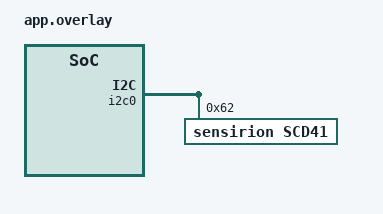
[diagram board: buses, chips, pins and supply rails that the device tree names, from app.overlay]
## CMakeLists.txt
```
# SPDX-License-Identifier: Apache-2.0

cmake_minimum_required(VERSION 3.20.0)
find_package(Zephyr REQUIRED HINTS $ENV{ZEPHYR_BASE})
project(esp32_c3_scd41)

target_sources(app PRIVATE 
    src/main.c
    src/app_config.c
    src/sensors.c
    src/display_mgr.c
    src/shell_cmds.c
    src/ble_mgr.c
)
```

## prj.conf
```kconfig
CONFIG_I2C=y
CONFIG_SENSOR=y
CONFIG_SCD4X=y

CONFIG_DISPLAY=y
CONFIG_SSD1306=y
CONFIG_CHARACTER_FRAMEBUFFER=y

CONFIG_SHELL=y
CONFIG_SHELL_STACK_SIZE=4096

# Settings and Persistent Storage
CONFIG_SETTINGS=y
CONFIG_SETTINGS_NVS=y
CONFIG_NVS=y
CONFIG_FLASH=y
CONFIG_FLASH_MAP=y
CONFIG_FLASH_PAGE_LAYOUT=y
CONFIG_SENSOR_SHELL=y
CONFIG_LOG=y

CONFIG_CBPRINTF_FP_SUPPORT=y
CONFIG_EVENTS=y

# Bluetooth support (Stable config from weactc6)
CONFIG_BT=y
CONFIG_BT_PERIPHERAL=y
CONFIG_BT_DEVICE_NAME="SCD41_Monitor"
CONFIG_BT_DEVICE_APPEARANCE=833
CONFIG_BT_SMP=y
CONFIG_BT_L2CAP_TX_MTU=247
CONFIG_BT_BUF_ACL_RX_SIZE=251
CONFIG_BT_BUF_ACL_TX_SIZE=251
CONFIG_BT_L2CAP_TX_BUF_COUNT=10
CONFIG_BT_BUF_ACL_TX_COUNT=10
CONFIG_BT_ATT_PREPARE_COUNT=5
CONFIG_BT_RX_STACK_SIZE=2200
CONFIG_BT_GATT_CLIENT=y
CONFIG_BT_USER_DATA_LEN_UPDATE=y
CONFIG_BT_CTLR_DATA_LENGTH_MAX=251

# GPIO for possible reset if needed
CONFIG_GPIO=y
```

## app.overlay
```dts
/* SCD41 Sensor Overlay */

&i2c0 {
	status = "okay";
	scd41: scd41@62 {
		compatible = "sensirion,scd41";
		reg = <0x62>;
		mode = <0>;
	};
};
```

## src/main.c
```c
#include <zephyr/kernel.h>
#include <zephyr/logging/log.h>
#include <stdio.h>

#include "app_config.h"
#include "sensors.h"
#include "display_mgr.h"
#include "shell_cmds.h"
#include "ble_mgr.h"

LOG_MODULE_REGISTER(app, LOG_LEVEL_INF);

int main(void)
{
	int err;

	LOG_INF("Initializing SCD41 Air Monitor with BLE");

	err = app_config_init();
	if (err) LOG_ERR("Settings initialization failed: %d", err);

	err = sensors_init();
	if (err) {
		LOG_ERR("Sensor initialization failed: %d", err);
		return 0;
	}

	err = display_mgr_init();
	if (err) {
		LOG_ERR("Display initialization failed: %d", err);
		return 0;
	}

	display_mgr_show_splash();

	/* Initialize Bluetooth via dedicated manager */
	err = ble_mgr_init();
	if (err) {
		LOG_ERR("BLE initialization failed: %d", err);
	}

	shell_cmds_init();

	LOG_INF("System ready. Bluetooth advertising...");

	int64_t last_timer_tick = k_uptime_get();
	int64_t last_sensor_fetch = 0;

	while (1) {
		uint32_t conf_interval_ms;
		bool is_active;
		
		k_mutex_lock(&config_mutex, K_FOREVER);
		is_active = config.active;
		conf_interval_ms = config.interval_ms;
		
		/* Handle Timer Countdown */
		if (config.timer_min > 0) {
			int64_t now = k_uptime_get();
			if (now - last_timer_tick >= 60000) { /* 1 minute passed */
				config.timer_min--;
				last_timer_tick = now;
				LOG_INF("Timer: %d minutes remaining", config.timer_min);
				
				if (config.timer_min == 0) {
					config.active = false;
					is_active = false;
					LOG_INF("Timer expired! Stopping measurements.");
				}
			}
		} else {
			last_timer_tick = k_uptime_get();
		}
		k_mutex_unlock(&config_mutex);

		int64_t now = k_uptime_get();
		if (is_active && (now - last_sensor_fetch >= conf_interval_ms || last_sensor_fetch == 0)) {
			err = sensors_fetch_all();
			if (err == 0) {
				ble_mgr_send_telemetry();
			} else {
				LOG_ERR("Sensor fetch failed: %d", err);
			}
			last_sensor_fetch = now;
		}

		display_mgr_update();
		k_msleep(200); /* 5 FPS UI update for animations */
	}

	return 0;
}
```

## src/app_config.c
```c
#include "app_config.h"
#include <zephyr/settings/settings.h>
#include <string.h>
#include <stdio.h>

struct app_config config = {
	.interval_ms = 5000,
	.measure_co2 = true,
	.measure_temp = true,
	.measure_hum = true,
	.measure_dp = true,
	.measure_vpd = true,
	.active = true,
	.log_to_console = true,
	.lang_ru = true  /* Default to RU */
};

struct measurement_data last_data = {0};
K_MUTEX_DEFINE(config_mutex);

static int app_settings_set(const char *name, size_t len, settings_read_cb read_cb, void *cb_arg)
{
	const char *next;
	int ret;

	if (settings_name_steq(name, "interval", &next) && !next) {
		ret = read_cb(cb_arg, &config.interval_ms, sizeof(config.interval_ms));
		return (ret < 0) ? ret : 0;
	}
	if (settings_name_steq(name, "m_co2", &next) && !next) {
		ret = read_cb(cb_arg, &config.measure_co2, sizeof(config.measure_co2));
		return (ret < 0) ? ret : 0;
	}
	if (settings_name_steq(name, "m_temp", &next) && !next) {
		ret = read_cb(cb_arg, &config.measure_temp, sizeof(config.measure_temp));
		return (ret < 0) ? ret : 0;
	}
	if (settings_name_steq(name, "m_hum", &next) && !next) {
		ret = read_cb(cb_arg, &config.measure_hum, sizeof(config.measure_hum));
		return (ret < 0) ? ret : 0;
	}
	if (settings_name_steq(name, "m_dp", &next) && !next) {
		ret = read_cb(cb_arg, &config.measure_dp, sizeof(config.measure_dp));
		return (ret < 0) ? ret : 0;
	}
	if (settings_name_steq(name, "m_vpd", &next) && !next) {
		ret = read_cb(cb_arg, &config.measure_vpd, sizeof(config.measure_vpd));
		return (ret < 0) ? ret : 0;
	}
	if (settings_name_steq(name, "active", &next) && !next) {
		ret = read_cb(cb_arg, &config.active, sizeof(config.active));
		return (ret < 0) ? ret : 0;
	}
	if (settings_name_steq(name, "log", &next) && !next) {
		ret = read_cb(cb_arg, &config.log_to_console, sizeof(config.log_to_console));
		return (ret < 0) ? ret : 0;
	}
	if (settings_name_steq(name, "lang_ru", &next) && !next) {
		ret = read_cb(cb_arg, &config.lang_ru, sizeof(config.lang_ru));
		return (ret < 0) ? ret : 0;
	}

	return 0;
}

struct settings_handler app_settings_conf = {
	.name = "app",
	.h_set = app_settings_set
};

int app_config_init(void)
{
	int err = settings_subsys_init();
	if (err) return err;

	err = settings_register(&app_settings_conf);
	if (err) return err;

	return settings_load();
}

int app_config_save(void)
{
	settings_save_one("app/interval", &config.interval_ms, sizeof(config.interval_ms));
	settings_save_one("app/m_co2", &config.measure_co2, sizeof(config.measure_co2));
	settings_save_one("app/m_temp", &config.measure_temp, sizeof(config.measure_temp));
	settings_save_one("app/m_hum", &config.measure_hum, sizeof(config.measure_hum));
	settings_save_one("app/m_dp", &config.measure_dp, sizeof(config.measure_dp));
	settings_save_one("app/m_vpd", &config.measure_vpd, sizeof(config.measure_vpd));
	settings_save_one("app/active", &config.active, sizeof(config.active));
	settings_save_one("app/log", &config.log_to_console, sizeof(config.log_to_console));
	settings_save_one("app/lang_ru", &config.lang_ru, sizeof(config.lang_ru));
	return 0;
}
```

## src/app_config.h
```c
#ifndef APP_CONFIG_H
#define APP_CONFIG_H

#include <zephyr/kernel.h>
#include <stdbool.h>

#define APP_VERSION "v1.0.6"

/* Comfort Ranges */
#define RANGE_CO2_MAX  1500
#define RANGE_CO2_MIN  350
#define RANGE_TEMP_MAX 35.0
#define RANGE_TEMP_MIN 15.0
#define RANGE_HUM_MAX  75.0
#define RANGE_HUM_MIN  25.0
#define RANGE_VPD_MAX  2.0
#define RANGE_VPD_MIN  0.4

/* Global configuration state */
struct app_config {
	uint32_t interval_ms;
	bool measure_co2;
	bool measure_temp;
	bool measure_hum;
	bool measure_dp;
	bool measure_vpd;
	bool active;
	bool log_to_console;
	bool lang_ru;      /* Language toggle: false = EN, true = RU */
	int32_t timer_min; /* Minutes until auto-stop. 0 = disabled */
};

/* Simplified measurement data for logic and display */
struct measurement_data {
	int co2;
	double temp;
	double hum;
	double dp;
	double vpd;
};

extern struct app_config config;
extern struct measurement_data last_data;
extern struct k_mutex config_mutex;

enum app_status {
	STATUS_OK = 0,
	STATUS_WARN = 1,
	STATUS_CRIT = 2
};

int app_config_init(void);
int app_config_save(void);

/* Helper to get numeric status */
enum app_status sensors_get_status_code(void);

/* Helper to build JSON telemetry string */
int sensors_build_telemetry_json(char *buf, size_t len);

#endif
```

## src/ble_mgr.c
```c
#include "ble_mgr.h"
#include "app_config.h"
#include "sensors.h"
#include <zephyr/bluetooth/bluetooth.h>
#include <zephyr/bluetooth/hci.h>
#include <zephyr/bluetooth/conn.h>
#include <zephyr/bluetooth/uuid.h>
#include <zephyr/bluetooth/gatt.h>
#include <zephyr/shell/shell.h>
#include <zephyr/logging/log.h>
#include <stdio.h>

LOG_MODULE_REGISTER(ble_mgr, LOG_LEVEL_INF);

/* Custom Service UUID: SCD41 Air Monitor (12345678-abcd-4444-8888-534344343100) */
#define BT_UUID_SCD_SERVICE_VAL BT_UUID_128_ENCODE(0x12345678, 0xabcd, 0x4444, 0x8888, 0x534344343100)
/* Characteristic: Telemetry (Notify) */
#define BT_UUID_SCD_DATA_VAL    BT_UUID_128_ENCODE(0x12345678, 0xabcd, 0x4444, 0x8888, 0x534344343101)
/* Characteristic: Command (Write) */
#define BT_UUID_SCD_CMD_VAL     BT_UUID_128_ENCODE(0x12345678, 0xabcd, 0x4444, 0x8888, 0x534344343102)

static struct bt_uuid_128 scd_svc_uuid = BT_UUID_INIT_128(BT_UUID_SCD_SERVICE_VAL);
static struct bt_uuid_128 scd_data_uuid = BT_UUID_INIT_128(BT_UUID_SCD_DATA_VAL);
static struct bt_uuid_128 scd_cmd_uuid = BT_UUID_INIT_128(BT_UUID_SCD_CMD_VAL);

static uint8_t telemetry_buf[128];
static struct bt_conn *current_conn;
static enum ble_status current_status = BLE_STATUS_DISCONNECTED;

static struct k_work_delayable adv_work;

/* ---- Characteristic Handlers ---- */
static ssize_t read_telemetry(struct bt_conn *conn, const struct bt_gatt_attr *attr,
			      void *buf, uint16_t len, uint16_t offset)
{
	return bt_gatt_attr_read(conn, attr, buf, len, offset, telemetry_buf, strlen(telemetry_buf));
}

static ssize_t write_command(struct bt_conn *conn, const struct bt_gatt_attr *attr,
			     const void *buf, uint16_t len, uint16_t offset, uint8_t flags)
{
	char cmd_buf[64];
	uint16_t copy_len = MIN(len, sizeof(cmd_buf) - 1);
	
	memcpy(cmd_buf, buf, copy_len);
	cmd_buf[copy_len] = '\0';

	LOG_INF("BLE Command received: %s", cmd_buf);

	/* Execute command via Shell */
	shell_execute_cmd(NULL, cmd_buf);

	/* Trigger immediate telemetry update to sync app state */
	ble_mgr_send_telemetry();

	return len;
}

static void ccc_cfg_changed(const struct bt_gatt_attr *attr, uint16_t value)
{
	bool notif_enabled = (value == BT_GATT_CCC_NOTIFY);
	LOG_INF("Telemetry notifications %s", notif_enabled ? "enabled" : "disabled");
}

/* ---- GATT Definition ---- */
BT_GATT_SERVICE_DEFINE(scd_svc,
	BT_GATT_PRIMARY_SERVICE(&scd_svc_uuid),
	BT_GATT_CHARACTERISTIC(&scd_data_uuid.uuid,
			       BT_GATT_CHRC_READ | BT_GATT_CHRC_NOTIFY,
			       BT_GATT_PERM_READ,
			       read_telemetry, NULL, telemetry_buf),
	BT_GATT_CCC(ccc_cfg_changed, BT_GATT_PERM_READ | BT_GATT_PERM_WRITE),
	BT_GATT_CHARACTERISTIC(&scd_cmd_uuid.uuid,
			       BT_GATT_CHRC_WRITE | BT_GATT_CHRC_WRITE_WITHOUT_RESP,
			       BT_GATT_PERM_WRITE,
			       NULL, write_command, NULL),
);

static uint8_t ad_service_data[4]; /* 2 bytes UUID (0x18, 0x1A) + 2 bytes CO2 */

static struct bt_data ad[] = {
	BT_DATA_BYTES(BT_DATA_FLAGS, (BT_LE_AD_GENERAL | BT_LE_AD_NO_BREDR)),
	BT_DATA_BYTES(BT_DATA_UUID128_ALL, BT_UUID_SCD_SERVICE_VAL),
	BT_DATA(BT_DATA_SVC_DATA16, ad_service_data, sizeof(ad_service_data)),
};

static const struct bt_data sd[] = {
	BT_DATA(BT_DATA_NAME_COMPLETE, CONFIG_BT_DEVICE_NAME, sizeof(CONFIG_BT_DEVICE_NAME) - 1),
};

static void update_ad_data(void)
{
	k_mutex_lock(&config_mutex, K_FOREVER);
	uint16_t co2 = (uint16_t)last_data.co2;
	k_mutex_unlock(&config_mutex);

	/* UUID 0x181A (Environmental Sensing) in Little Endian */
	ad_service_data[0] = 0x1A;
	ad_service_data[1] = 0x18;
	/* CO2 value in Big Endian for easier parsing on Android */
	ad_service_data[2] = (co2 >> 8) & 0xFF;
	ad_service_data[3] = co2 & 0xFF;

	bt_le_adv_update_data(ad, ARRAY_SIZE(ad), sd, ARRAY_SIZE(sd));
}

/* ---- BLE Callbacks ---- */
static void connected(struct bt_conn *conn, uint8_t err)
{
	if (err) {
		LOG_ERR("Connection failed (err %u)", err);
		current_status = BLE_STATUS_DISCONNECTED;
		return;
	}
	LOG_INF("Phone connected");
	current_conn = bt_conn_ref(conn);
	current_status = BLE_STATUS_CONNECTED;
}

static void disconnected(struct bt_conn *conn, uint8_t reason)
{
	LOG_INF("Phone disconnected (reason %02x)", reason);
	if (current_conn) {
		bt_conn_unref(current_conn);
		current_conn = NULL;
	}
	current_status = BLE_STATUS_DISCONNECTED;

	/* Restart advertising after stack cleanup via delayable work */
	k_work_reschedule(&adv_work, K_MSEC(250));
}

BT_CONN_CB_DEFINE(conn_callbacks) = {
	.connected = connected,
	.disconnected = disconnected,
};

static void adv_work_handler(struct k_work *work)
{
	int err = bt_le_adv_start(BT_LE_ADV_CONN_FAST_1, ad, ARRAY_SIZE(ad), sd, ARRAY_SIZE(sd));
	if (err == -EALREADY) {
		LOG_INF("Advertising is already running");
		current_status = BLE_STATUS_CONNECTING;
	} else if (err) {
		LOG_ERR("Advertising failed to restart (err %d)", err);
		/* Try again */
		k_work_reschedule(&adv_work, K_MSEC(1000));
	} else {
		LOG_INF("Advertising restarted");
		current_status = BLE_STATUS_CONNECTING;
	}
}

static void bt_ready(int err)
{
	if (err) {
		LOG_ERR("Bluetooth init failed (err %d)", err);
		return;
	}
	LOG_INF("Bluetooth initialized and ready");

	k_work_init_delayable(&adv_work, adv_work_handler);

	err = bt_le_adv_start(BT_LE_ADV_CONN_FAST_1, ad, ARRAY_SIZE(ad), sd, ARRAY_SIZE(sd));
	if (err) {
		LOG_ERR("Advertising failed to start (err %d)", err);
		return;
	}
	LOG_INF("Advertising started as 'SCD41_Monitor'");
	current_status = BLE_STATUS_CONNECTING;
}

int ble_mgr_init(void)
{
	int err = bt_enable(bt_ready);
	if (err) {
		LOG_ERR("Bluetooth init failed (err %d)", err);
	}
	return err;
}

void ble_mgr_send_telemetry(void)
{
	sensors_build_telemetry_json(telemetry_buf, sizeof(telemetry_buf));

	/* Notify index 2 (The value attribute) */
	if (current_conn) {
		bt_gatt_notify(NULL, &scd_svc.attrs[2], telemetry_buf, strlen(telemetry_buf));
	}
	
	/* Update advertising data so CO2 is visible without connection */
	update_ad_data();
}

enum ble_status ble_mgr_get_status(void)
{
	return current_status;
}
```

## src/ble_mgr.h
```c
#ifndef BLE_MGR_H
#define BLE_MGR_H

#include <zephyr/kernel.h>

enum ble_status {
	BLE_STATUS_DISCONNECTED,
	BLE_STATUS_CONNECTING,
	BLE_STATUS_CONNECTED,
	BLE_STATUS_DISCONNECTING
};

/**
 * @brief Initialize BLE service and advertising
 * @return 0 on success
 */
int ble_mgr_init(void);

/**
 * @brief Update and notify telemetry data over BLE
 */
void ble_mgr_send_telemetry(void);

/**
 * @brief Get current BLE connection status
 */
enum ble_status ble_mgr_get_status(void);

#endif
```

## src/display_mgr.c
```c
#include "display_mgr.h"
#include "app_config.h"
#include "sensors.h"
#include "ble_mgr.h"
#include <zephyr/logging/log.h>
#include <zephyr/display/cfb.h>
#include <zephyr/drivers/display.h>
#include <stdio.h>

LOG_MODULE_DECLARE(app, LOG_LEVEL_INF);

const struct device *display = DEVICE_DT_GET(DT_CHOSEN(zephyr_display));

int display_mgr_init(void)
{
	if (!device_is_ready(display)) {
		return -ENODEV;
	}
	if (display_set_pixel_format(display, PIXEL_FORMAT_MONO10) < 0) {
		return -EIO;
	}
	if (cfb_framebuffer_init(display)) {
		return -EIO;
	}

	cfb_framebuffer_clear(display, true);
	cfb_framebuffer_set_font(display, 0);

	display_blanking_off(display);

	return 0;
}

void display_mgr_show_splash(void)
{
	uint16_t width, height;

	width = cfb_get_display_parameter(display, CFB_DISPLAY_WIDTH);
	height = cfb_get_display_parameter(display, CFB_DISPLAY_HEIGHT);

	LOG_INF("Showing splash screen (version %s)", APP_VERSION);

	/* Loop to create a 5 second splash delay (33 iterations * 150ms = 4950ms) */
	for (int i = 0; i < 33; i++) {
		cfb_framebuffer_clear(display, false);
		cfb_print(display, "SCD41 Monitor", 0, 0);
		cfb_print(display, (char *)APP_VERSION, 0, 20);

		char loading_str[32];
		snprintf(loading_str, sizeof(loading_str), "Loading%s",
		         (i % 4 == 0) ? "" : (i % 4 == 1) ? "." : (i % 4 == 2) ? ".." : "...");

		/* Gentle scrolling/bouncing effect for Loading... */
		int cycle = i % 14;
		int x_offset = (cycle < 7) ? cycle * 4 : (14 - cycle) * 4;

		cfb_print(display, loading_str, x_offset, 40);
		cfb_framebuffer_finalize(display);
		k_sleep(K_MSEC(150));
	}
	LOG_INF("Splash screen finished");
}

void display_mgr_update(void)
{
	static uint8_t page_idx = 0;
	static int64_t last_page_time = 0;
	static uint32_t anim_tick = 0;

	char val_buf[32];
	const char *label = "";
	bool shown = false;
	
	k_mutex_lock(&config_mutex, K_FOREVER);
	bool ru = config.lang_ru;
	k_mutex_unlock(&config_mutex);

	enum ble_status ble_st = ble_mgr_get_status();

	int64_t now = k_uptime_get();
	
	if (now - last_page_time >= 3000 || last_page_time == 0) {
		page_idx = (page_idx + 1) % 7;
		last_page_time = now;
	}

	anim_tick++;

	/* Scan for the next valid page starting from page_idx */
	for (int i = 0; i < 7; i++) {
		uint8_t current = (page_idx + i) % 7;

		cfb_framebuffer_clear(display, false);
		shown = false;

		if (current < 5) {
			k_mutex_lock(&config_mutex, K_FOREVER);
			switch (current) {
			case 0:
				if (config.measure_co2) {
					label = "CO2|ppm";
					snprintf(val_buf, sizeof(val_buf), "%d", last_data.co2);
					shown = true;
				}
				break;
			case 1:
				if (config.measure_temp) {
					label = "t C";
					snprintf(val_buf, sizeof(val_buf), "%.2f", last_data.temp);
					shown = true;
				}
				break;
			case 2:
				if (config.measure_hum) {
					label = ru ? "Вл %" : "Hum %";
					snprintf(val_buf, sizeof(val_buf), "%.1f", last_data.hum);
					shown = true;
				}
				break;
			case 3:
				if (config.measure_dp) {
					label = ru ? "Т.Рос|C" : "DewP|C";
					snprintf(val_buf, sizeof(val_buf), "%.1f", last_data.dp);
					shown = true;
				}
				break;
			case 4:
				if (config.measure_vpd) {
					label = "VPD|kPa";
					snprintf(val_buf, sizeof(val_buf), "%.2f", last_data.vpd);
					shown = true;
				}
				break;
			}
			k_mutex_unlock(&config_mutex);

			if (shown) {
				cfb_print(display, (char *)label, 0, 0);
				cfb_print(display, val_buf, 0, 20);
			}
		} else if (current == 5) {
			const char *status = sensors_get_status_word();
			cfb_print(display, ru ? "ВОЗД:" : "AIR:", 0, 0);
			cfb_print(display, (char *)status, 0, 20);
			shown = true;
		} else if (current == 6) {
			char ble_desc[32];
			int x_offset = 0;

			if (ble_st == BLE_STATUS_CONNECTED) {
				snprintf(ble_desc, sizeof(ble_desc), "%s", ru ? "СВЯЗЬ: OK" : "LINK: OK");
			} else if (ble_st == BLE_STATUS_CONNECTING) {
				/* Animated Connecting text */
				snprintf(ble_desc, sizeof(ble_desc), "%s%s", 
				         ru ? "ПОИСК" : "WAIT",
				         (anim_tick % 4 == 0) ? "" : (anim_tick % 4 == 1) ? "." : (anim_tick % 4 == 2) ? ".." : "...");
				
				/* Simple back-and-forth scroll by 0..20 pixels */
				int cycle = anim_tick % 20;
				x_offset = (cycle < 10) ? cycle * 2 : (20 - cycle) * 2;
			} else {
				snprintf(ble_desc, sizeof(ble_desc), "%s", ru ? "ОТКЛЮЧ" : "DISCONN");
			}

			cfb_print(display, "BLE:", 0, 0);
			cfb_print(display, ble_desc, x_offset, 20);
			shown = true;
		}

		if (shown) {
			cfb_framebuffer_finalize(display);
			/* Update page_idx so we don't skip this page later if still within the 3 seconds */
			page_idx = current;
			break;
		}
	}
}
```

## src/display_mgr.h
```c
#ifndef DISPLAY_MGR_H
#define DISPLAY_MGR_H

#include <zephyr/device.h>

extern const struct device *display;

int display_mgr_init(void);
void display_mgr_show_splash(void);
void display_mgr_update(void);

#endif
```

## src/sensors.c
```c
#include "sensors.h"
#include "app_config.h"
#include <zephyr/drivers/sensor.h>
#include <zephyr/drivers/sensor/scd4x.h>
#include <zephyr/shell/shell.h>
#include <math.h>
#include <stdio.h>

const struct device *sensor = DEVICE_DT_GET(DT_NODELABEL(scd41));

static double calculate_dewpoint(double temp, double hum)
{
	if (hum < 0.1) return 0.0; /* Safety check for log(0) */
	const double a = 17.27;
	const double b = 237.7;
	double alpha = ((a * temp) / (b + temp)) + log(hum / 100.0);
	return (b * alpha) / (a - alpha);
}

static double calculate_vpd(double temp, double hum)
{
	if (temp < -40.0) return 0.0;
	double es = 0.61078 * exp(17.27 * temp / (temp + 237.3));
	return es * (1.0 - (hum / 100.0));
}

void sensors_print_formulas(const struct shell *shell)
{
	shell_print(shell, "\n=== DATA INTERPRETATION ===");
	shell_print(shell, "1. CO2 (PPM): Air freshness");
	shell_print(shell, "   400-800: EXCELLENT. High productivity.");
	shell_print(shell, "   800-1000: GOOD. Normal indoor level.");
	shell_print(shell, "   1000-1500: POOR. Fatigue and sleepiness.");
	shell_print(shell, "   >1500: BAD. Headache, 'brain off' syndrome.");
	shell_print(shell, "\n2. HUMIDITY (%%): Comfort/Health");
	shell_print(shell, "   30-60%%: OPTIMAL. Best for mucosa and skin.");
	shell_print(shell, "   <30%%: DRY. Risk of viruses.");
	shell_print(shell, "\n3. VPD (kPa): Evaporation balance");
	shell_print(shell, "   0.8-1.2: IDEAL. Good for plants and skin.");
	shell_print(shell, "============================\n");
}

enum app_status sensors_get_status_code(void)
{
	if (last_data.co2 > RANGE_CO2_MAX) return STATUS_CRIT;
	if (last_data.co2 > 1000) return STATUS_WARN;
	if (last_data.hum < RANGE_HUM_MIN || last_data.hum > RANGE_HUM_MAX) return STATUS_WARN;
	return STATUS_OK;
}

const char* sensors_get_status_word(void)
{
	enum app_status code = sensors_get_status_code();
	
	if (code == STATUS_CRIT) return "BAD";
	if (code == STATUS_WARN) return "WARN";
	return "GOOD";
}

void sensors_give_advice(const struct shell *shell)
{
	shell_print(shell, "%s", sensors_get_advice_string());
}

const char* sensors_get_advice_string(void)
{
	if (last_data.co2 > 1500) {
		return "!!! CRITICAL CO2: VENTILATE!";
	} else if (last_data.co2 > 1000) {
		return "! POOR CO2: Ventilate.";
	} else if (last_data.hum < 30.0) {
		return "! DRY AIR: Need humidifier.";
	} else if (last_data.hum > 70.0) {
		return "! HUMID: Risk of mold!";
	}

	return "Everything OK. Have a nice day!";
}

int sensors_init(void)
{
	if (!device_is_ready(sensor)) return -ENODEV;
	struct sensor_value attr = { .val1 = 1 };
	(void)sensor_attr_set(sensor, SENSOR_CHAN_ALL,
			    (enum sensor_attribute)SENSOR_ATTR_SCD4X_AUTOMATIC_CALIB_ENABLE,
			    &attr);
	return 0;
}

int sensors_fetch_all(void)
{
	struct sensor_value co2_sv, temp_sv, hum_sv;
	int ret = sensor_sample_fetch(sensor);
	if (ret) return ret;

	sensor_channel_get(sensor, SENSOR_CHAN_CO2, &co2_sv);
	sensor_channel_get(sensor, SENSOR_CHAN_AMBIENT_TEMP, &temp_sv);
	sensor_channel_get(sensor, SENSOR_CHAN_HUMIDITY, &hum_sv);

	k_mutex_lock(&config_mutex, K_FOREVER);
	last_data.co2 = co2_sv.val1;
	last_data.temp = sensor_value_to_double(&temp_sv);
	last_data.hum = sensor_value_to_double(&hum_sv);

	/* Only calculate if sensors returned valid data */
	if (last_data.hum > 0.1) {
		last_data.dp = calculate_dewpoint(last_data.temp, last_data.hum);
		last_data.vpd = calculate_vpd(last_data.temp, last_data.hum);
	} else {
		last_data.dp = 0.0;
		last_data.vpd = 0.0;
	}

	if (config.log_to_console) {
		const char* status = sensors_get_status_word();
		printf("[%s] CO2=%d, T=%.2f, H=%.1f\n",
			status, last_data.co2, last_data.temp, last_data.hum);
	}
	k_mutex_unlock(&config_mutex);
	return 0;
}

int sensors_build_telemetry_json(char *buf, size_t len)
{
	k_mutex_lock(&config_mutex, K_FOREVER);
	
	/* Use short keys to save space: 
	   val: values (c=co2, t=temp, h=hum, d=dp, v=vpd)
	   cfg: config (i=interval, a=active, t=timer)
	   s: status code
	*/
	int ret = snprintf(buf, len,
		"{\"val\":{\"c\":%d,\"t\":%.1f,\"h\":%.1f,\"d\":%.1f,\"v\":%.2f},"
		"\"cfg\":{\"i\":%d,\"a\":%d,\"tm\":%d},"
		"\"s\":%d}",
		last_data.co2, last_data.temp, last_data.hum, 
		last_data.dp, last_data.vpd,
		config.interval_ms, config.active ? 1 : 0, config.timer_min,
		sensors_get_status_code());
		
	k_mutex_unlock(&config_mutex);
	
	return (ret > 0 && ret < len) ? 0 : -ENOMEM;
}
```

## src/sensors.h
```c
#ifndef SENSORS_H
#define SENSORS_H

#include <zephyr/device.h>
#include <zephyr/shell/shell.h>

extern const struct device *sensor;

int sensors_init(void);
int sensors_fetch_all(void);
void sensors_print_formulas(const struct shell *shell);
void sensors_give_advice(const struct shell *shell);
const char* sensors_get_status_word(void);
const char* sensors_get_advice_string(void);

#endif
```

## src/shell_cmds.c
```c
#include "app_config.h"
#include "sensors.h"
#include "display_mgr.h"
#include <zephyr/shell/shell.h>
#include <zephyr/drivers/sensor/scd4x.h>
#include <stdlib.h>
#include <string.h>

static int cmd_status(const struct shell *shell, size_t argc, char **argv)
{
	k_mutex_lock(&config_mutex, K_FOREVER);
	shell_print(shell, "System: %s", config.active ? "Active" : "Paused");
	shell_print(shell, "Status: %s", sensors_get_status_word());
	shell_print(shell, "Interval: %d ms", config.interval_ms);
	if (config.timer_min > 0) {
		shell_print(shell, "Timer: %d min remaining", config.timer_min);
	}
	shell_print(shell, "Language: English");
	k_mutex_unlock(&config_mutex);
	return 0;
}

static int cmd_interval(const struct shell *shell, size_t argc, char **argv)
{
	uint32_t ms = atoi(argv[1]);
	if (ms < 1000) {
		shell_error(shell, "Interval too short (min 1000ms)");
		return -EINVAL;
	}
	k_mutex_lock(&config_mutex, K_FOREVER);
	config.interval_ms = ms;
	k_mutex_unlock(&config_mutex);
	app_config_save();
	shell_print(shell, "Interval set to %d ms", ms);
	return 0;
}

static int cmd_enable(const struct shell *shell, size_t argc, char **argv)
{
	k_mutex_lock(&config_mutex, K_FOREVER);
	if (strcmp(argv[1], "co2") == 0) config.measure_co2 = true;
	else if (strcmp(argv[1], "temp") == 0) config.measure_temp = true;
	else if (strcmp(argv[1], "hum") == 0) config.measure_hum = true;
	else if (strcmp(argv[1], "dp") == 0) config.measure_dp = true;
	else if (strcmp(argv[1], "vpd") == 0) config.measure_vpd = true;
	else if (strcmp(argv[1], "all") == 0) {
		config.measure_co2 = config.measure_temp = config.measure_hum = 
		config.measure_dp = config.measure_vpd = true;
	} else {
		shell_error(shell, "Unknown parameter: %s", argv[1]);
	}
	k_mutex_unlock(&config_mutex);
	app_config_save();
	return 0;
}

static int cmd_disable(const struct shell *shell, size_t argc, char **argv)
{
	k_mutex_lock(&config_mutex, K_FOREVER);
	if (strcmp(argv[1], "co2") == 0) config.measure_co2 = false;
	else if (strcmp(argv[1], "temp") == 0) config.measure_temp = false;
	else if (strcmp(argv[1], "hum") == 0) config.measure_hum = false;
	else if (strcmp(argv[1], "dp") == 0) config.measure_dp = false;
	else if (strcmp(argv[1], "vpd") == 0) config.measure_vpd = false;
	else if (strcmp(argv[1], "all") == 0) {
		config.measure_co2 = config.measure_temp = config.measure_hum = 
		config.measure_dp = config.measure_vpd = false;
	}
	k_mutex_unlock(&config_mutex);
	app_config_save();
	return 0;
}

static int cmd_start_stop(const struct shell *shell, size_t argc, char **argv)
{
	k_mutex_lock(&config_mutex, K_FOREVER);
	if (strcmp(argv[0], "start") == 0) config.active = true;
	else config.active = false;
	k_mutex_unlock(&config_mutex);
	app_config_save();
	return 0;
}

static int cmd_active(const struct shell *shell, size_t argc, char **argv)
{
	k_mutex_lock(&config_mutex, K_FOREVER);
	if (strcmp(argv[1], "on") == 0) config.active = true;
	else if (strcmp(argv[1], "off") == 0) config.active = false;
	else {
		shell_error(shell, "Usage: app active <on|off>");
		k_mutex_unlock(&config_mutex);
		return -EINVAL;
	}
	k_mutex_unlock(&config_mutex);
	app_config_save();
	shell_print(shell, "System active: %s", config.active ? "ON" : "OFF");
	return 0;
}

static int cmd_lang(const struct shell *shell, size_t argc, char **argv)
{
	shell_print(shell, "Only English is supported to avoid terminal encoding issues.");
	return 0;
}

static int cmd_asc(const struct shell *shell, size_t argc, char **argv)
{
	struct sensor_value attr;
	if (strcmp(argv[1], "on") == 0) attr.val1 = 1;
	else attr.val1 = 0;

	int ret = sensor_attr_set(sensor, SENSOR_CHAN_ALL,
				 (enum sensor_attribute)SENSOR_ATTR_SCD4X_AUTOMATIC_CALIB_ENABLE,
				 &attr);
	if (ret) {
		shell_error(shell, "Failed to set ASC: %d", ret);
		return ret;
	}
	shell_print(shell, "ASC set to %s", attr.val1 ? "ON" : "OFF");
	return 0;
}

static int cmd_info(const struct shell *shell, size_t argc, char **argv)
{
	sensors_print_formulas(shell);
	return 0;
}

static int cmd_timer(const struct shell *shell, size_t argc, char **argv)
{
	int32_t min = atoi(argv[1]);
	k_mutex_lock(&config_mutex, K_FOREVER);
	config.timer_min = min;
	k_mutex_unlock(&config_mutex);
	shell_print(shell, "Timer set to %d minutes", min);
	return 0;
}

static int cmd_advice(const struct shell *shell, size_t argc, char **argv)
{
	sensors_give_advice(shell);
	return 0;
}

static int cmd_log_on(const struct shell *shell, size_t argc, char **argv)
{
	k_mutex_lock(&config_mutex, K_FOREVER);
	config.log_to_console = true;
	k_mutex_unlock(&config_mutex);
	app_config_save();
	shell_print(shell, "Logging: ON");
	return 0;
}

static int cmd_log_off(const struct shell *shell, size_t argc, char **argv)
{
	k_mutex_lock(&config_mutex, K_FOREVER);
	config.log_to_console = false;
	k_mutex_unlock(&config_mutex);
	app_config_save();
	shell_print(shell, "Logging: OFF");
	return 0;
}

static int cmd_log(const struct shell *shell, size_t argc, char **argv)
{
	k_mutex_lock(&config_mutex, K_FOREVER);
	if (strcmp(argv[1], "on") == 0) config.log_to_console = true;
	else if (strcmp(argv[1], "off") == 0) config.log_to_console = false;
	else {
		shell_error(shell, "Usage: app log <on|off>");
		k_mutex_unlock(&config_mutex);
		return -EINVAL;
	}
	k_mutex_unlock(&config_mutex);
	app_config_save();
	shell_print(shell, "Logging: %s", config.log_to_console ? "ON" : "OFF");
	return 0;
}

SHELL_STATIC_SUBCMD_SET_CREATE(sub_app,
	SHELL_CMD_ARG(status, NULL, "Show current settings", cmd_status, 1, 0),
	SHELL_CMD_ARG(interval, NULL, "Set measurement interval in ms", cmd_interval, 2, 0),
	SHELL_CMD_ARG(active, NULL, "Start/Stop measurements {on|off}", cmd_active, 2, 0),
	SHELL_CMD_ARG(timer, NULL, "Set auto-stop timer in minutes (0 to disable)", cmd_timer, 2, 0),
	SHELL_CMD_ARG(lang, NULL, "Change language {ru|en}", cmd_lang, 2, 0),
	SHELL_CMD_ARG(log, NULL, "Toggle console logging {on|off}", cmd_log, 2, 0),
	SHELL_CMD_ARG(enable, NULL, "Enable metric {co2|temp|hum|dp|vpd|all} (Advanced)", cmd_enable, 2, 0),
	SHELL_CMD_ARG(disable, NULL, "Disable metric {co2|temp|hum|dp|vpd|all} (Advanced)", cmd_disable, 2, 0),
	SHELL_CMD_ARG(asc, NULL, "Auto-calibration {on|off}", cmd_asc, 2, 0),
	SHELL_CMD_ARG(info, NULL, "Show detailed metric interpretations", cmd_info, 1, 0),
	SHELL_CMD_ARG(advice, NULL, "Get smart advice for current air quality", cmd_advice, 1, 0),
	SHELL_SUBCMD_SET_END
);

SHELL_CMD_REGISTER(app, &sub_app, "Air Monitor application commands", NULL);
/* Keep start/stop/l1/l0 as convenient aliases for physical console usage */
SHELL_CMD_REGISTER(start, NULL, "Start measurements (Quick)", cmd_start_stop);
SHELL_CMD_REGISTER(stop, NULL, "Stop measurements (Quick)", cmd_start_stop);
SHELL_CMD_REGISTER(l1, NULL, "Enable console logging (Quick)", cmd_log_on);
SHELL_CMD_REGISTER(l0, NULL, "Disable console logging (Quick)", cmd_log_off);

void shell_cmds_init(void) {}
```

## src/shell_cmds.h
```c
#ifndef SHELL_CMDS_H
#define SHELL_CMDS_H

void shell_cmds_init(void);

#endif
```
